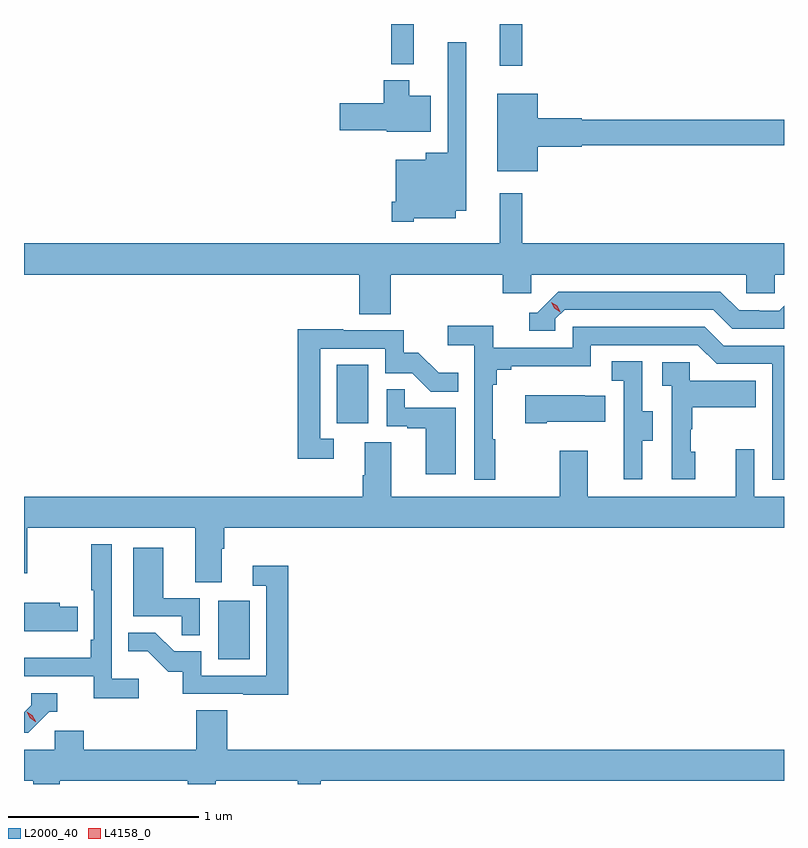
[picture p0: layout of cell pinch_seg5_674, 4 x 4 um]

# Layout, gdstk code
import gdstk
lib = gdstk.Library(unit=1e-6, precision=1e-09)
def R(c, l, rs):  # rectangles x0, y0, x1, y1
    for r in rs: c.add(gdstk.rectangle(r[:2], r[2:], *l))
def P(c, l, *ps):  # polygons
    for p in ps: c.add(gdstk.Polygon(p, *l))
L2000_40 = (2000, 40)
L4158_0 = (4158, 0)

pinch_seg5_674 = lib.new_cell('pinch_seg5_674')
R(pinch_seg5_674, L2000_40, [(1044.926,850.74,1045.09,851.047), (1045.55,851.982,1045.714,852.289), (1046.408,853.863,1046.525,854.083), (1045.837,853.871,1045.955,854.083)])
P(pinch_seg5_674, L2000_40, [(1045.953,853.061),(1046.176,853.061),(1046.176,853.1),(1046.23,853.1),(1046.23,853.987),(1046.133,853.987),(1046.133,853.405),(1046.018,853.405),(1046.018,853.369),(1045.859,853.369),(1045.859,853.147),(1045.838,853.147),(1045.838,853.043),(1045.953,853.043)],
  [(1046.044,853.705),(1045.93,853.705),(1045.93,853.786),(1045.796,853.786),(1045.796,853.665),(1045.566,853.665),(1045.566,853.523),(1045.812,853.523),(1045.812,853.517),(1046.044,853.517)],
  [(1046.608,853.436),(1046.838,853.436),(1046.838,853.444),(1047.903,853.444),(1047.903,853.58),(1046.838,853.58),(1046.838,853.588),(1046.608,853.588),(1046.608,853.717),(1046.393,853.717),(1046.393,853.307),(1046.608,853.307)],
  [(1045.832,852.764),(1046.423,852.764),(1046.423,852.666),(1046.574,852.666),(1046.574,852.764),(1047.705,852.764),(1047.705,852.666),(1047.855,852.666),(1047.855,852.764),(1047.903,852.764),(1047.903,852.928),(1046.525,852.928),(1046.525,853.192),(1046.407,853.192),(1046.407,852.928),(1043.903,852.928),(1043.903,852.764),(1045.667,852.764),(1045.667,852.556),(1045.832,852.556)],
  [(1046.7,852.531),(1046.748,852.579),(1047.531,852.579),(1047.63,852.48),(1047.903,852.48),(1047.903,852.6),(1047.877,852.573),(1047.774,852.573),(1047.774,852.576),(1047.667,852.576),(1047.568,852.675),(1046.715,852.675),(1046.604,852.564),(1046.561,852.564),(1046.561,852.468),(1046.7,852.468)],
  [(1046.383,851.897),(1046.371,851.897),(1046.371,852.185),(1046.39,852.185),(1046.39,852.262),(1046.467,852.262),(1046.467,852.281),(1046.886,852.281),(1046.886,852.393),(1047.45,852.393),(1047.549,852.294),(1047.84,852.294),(1047.84,851.685),(1047.903,851.685),(1047.903,852.39),(1047.586,852.39),(1047.487,852.489),(1046.79,852.489),(1046.79,852.378),(1046.372,852.378),(1046.372,852.494),(1046.133,852.494),(1046.133,852.392),(1046.274,852.392),(1046.274,851.685),(1046.383,851.685)],
  [(1045.534,851.901),(1045.461,851.901),(1045.461,852.375),(1045.803,852.375),(1045.803,852.246),(1045.947,852.246),(1046.045,852.148),(1046.189,852.148),(1046.189,852.247),(1046.085,852.247),(1045.978,852.354),(1045.902,852.354),(1045.902,852.471),(1045.583,852.471),(1045.583,852.476),(1045.345,852.476),(1045.345,851.796),(1045.534,851.796)],
  [(1047.157,851.89),(1047.211,851.89),(1047.211,852.045),(1047.156,852.045),(1047.156,852.308),(1046.997,852.308),(1046.997,852.205),(1047.06,852.205),(1047.06,851.901),(1047.059,851.901),(1047.059,851.688),(1047.157,851.688)],
  [(1047.436,851.832),(1047.411,851.832),(1047.411,851.951),(1047.421,851.951),(1047.421,852.065),(1047.755,852.065),(1047.755,852.205),(1047.408,852.205),(1047.408,852.303),(1047.261,852.303),(1047.261,852.179),(1047.312,852.179),(1047.312,851.688),(1047.436,851.688)],
  [(1046.176,852.063),(1045.907,852.063),(1045.907,852.161),(1045.812,852.161),(1045.812,851.967),(1045.919,851.967),(1045.919,851.955),(1046.018,851.955),(1046.018,851.712),(1046.176,851.712)],
  [(1046.653,851.99),(1046.963,851.99),(1046.963,852.127),(1046.855,852.127),(1046.855,852.13),(1046.541,852.13),(1046.541,851.983),(1046.653,851.983)],
  [(1044.943,851.32),(1044.956,851.32),(1044.956,851.432),(1047.903,851.432),(1047.903,851.596),(1047.747,851.596),(1047.747,851.845),(1047.65,851.845),(1047.65,851.596),(1046.869,851.596),(1046.869,851.836),(1046.722,851.836),(1046.722,851.596),(1045.837,851.596),(1045.837,851.882),(1045.697,851.882),(1045.697,851.708),(1045.685,851.708),(1045.685,851.596),(1043.903,851.596),(1043.903,851.193),(1043.919,851.193),(1043.919,851.432),(1044.803,851.432),(1044.803,851.146),(1044.943,851.146)],
  [(1044.508,850.636),(1044.366,850.636),(1044.366,851.344),(1044.258,851.344),(1044.258,851.104),(1044.27,851.104),(1044.27,850.843),(1044.253,850.843),(1044.253,850.747),(1043.903,850.747),(1043.903,850.65),(1044.269,850.65),(1044.269,850.534),(1044.508,850.534)],
  [(1044.828,851.061),(1044.637,851.061),(1044.637,851.326),(1044.479,851.326),(1044.479,850.965),(1044.733,850.965),(1044.733,850.867),(1044.828,850.867)],
  [(1045.295,851.233),(1045.107,851.233),(1045.107,851.127),(1045.179,851.127),(1045.179,850.653),(1044.837,850.653),(1044.837,850.782),(1044.693,850.782),(1044.595,850.88),(1044.451,850.88),(1044.451,850.781),(1044.555,850.781),(1044.662,850.674),(1044.739,850.674),(1044.739,850.557),(1045.057,850.557),(1045.057,850.552),(1045.295,850.552)],
  [(1044.074,850.887),(1044.185,850.887),(1044.185,851.016),(1044.091,851.016),(1044.091,851.038),(1043.903,851.038),(1043.903,850.886),(1044.074,850.886)],
  [(1044.036,850.464),(1044.079,850.464),(1044.079,850.56),(1043.94,850.56),(1043.94,850.497),(1043.903,850.46),(1043.903,850.353),(1043.925,850.353)],
  [(1044.091,850.1),(1044.766,850.1),(1044.766,850.083),(1044.913,850.083),(1044.913,850.1),(1045.343,850.1),(1045.343,850.083),(1045.466,850.083),(1045.466,850.1),(1047.903,850.1),(1047.903,850.264),(1044.974,850.264),(1044.974,850.472),(1044.809,850.472),(1044.809,850.264),(1044.218,850.264),(1044.218,850.362),(1044.066,850.362),(1044.066,850.264),(1043.903,850.264),(1043.903,850.1),(1043.951,850.1),(1043.951,850.083),(1044.091,850.083)])
P(pinch_seg5_674, L4158_0, [(1043.963,850.411),(1043.933,850.431),(1043.917,850.463),(1043.917,850.464),(1043.917,850.464),(1043.947,850.444),(1043.964,850.412),(1043.964,850.411)],
  [(1046.726,852.567),(1046.695,852.586),(1046.678,852.618),(1046.678,852.618),(1046.679,852.618),(1046.71,852.599),(1046.726,852.567),(1046.726,852.567)])

lib.write_gds('pinch_seg5_674.gds')
